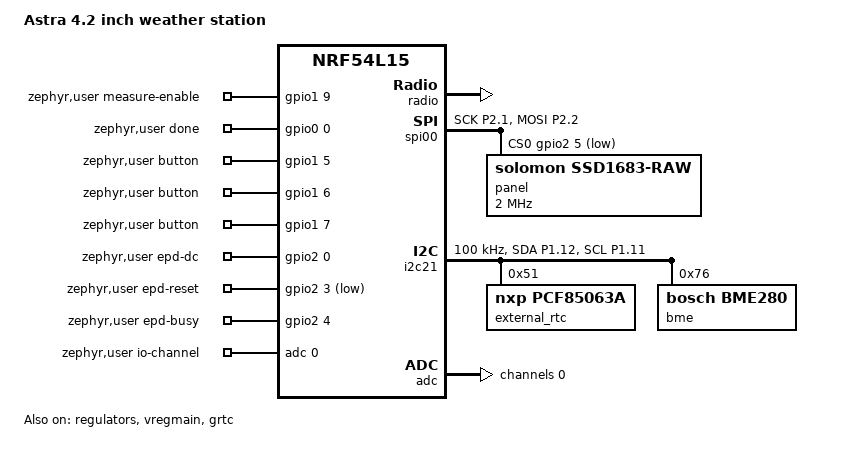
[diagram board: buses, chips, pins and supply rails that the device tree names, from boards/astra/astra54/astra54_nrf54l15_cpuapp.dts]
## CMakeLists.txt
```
cmake_minimum_required(VERSION 3.20.0)
list(APPEND BOARD_ROOT ${CMAKE_CURRENT_SOURCE_DIR})
find_package(Zephyr REQUIRED HINTS $ENV{ZEPHYR_BASE})
project(astra_bringup C)
target_sources(app PRIVATE src/main.c src/state.c src/panel.c src/clock.c src/calendar.c)
target_compile_options(app PRIVATE -Wall -Wextra -Werror -Wno-unused-parameter)
```

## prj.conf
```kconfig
CONFIG_GPIO=y
CONFIG_I2C=y
CONFIG_I2C_NRFX_TRANSFER_TIMEOUT=50
CONFIG_SPI=y
CONFIG_ADC=y
CONFIG_SENSOR=y
CONFIG_BME280_MODE_FORCED=y
CONFIG_BME280_TEMP_OVER_1X=y
CONFIG_BME280_PRESS_OVER_1X=y
CONFIG_BME280_HUMIDITY_OVER_1X=y
CONFIG_FLASH=y
CONFIG_NRF_RRAM_WRITE_BUFFER_SIZE=1
CONFIG_MAIN_STACK_SIZE=4096
CONFIG_HW_STACK_PROTECTION=y
CONFIG_PRINTK=n
CONFIG_CONSOLE=n
CONFIG_SERIAL=n
CONFIG_BOOT_BANNER=n
CONFIG_BUILD_OUTPUT_HEX=y
CONFIG_BT=y
CONFIG_BT_BROADCASTER=y
CONFIG_BT_DEVICE_NAME="Astra weather"
```

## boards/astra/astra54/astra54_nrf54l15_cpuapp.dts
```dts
/dts-v1/;
#include <nordic/nrf54l15_cpuapp.dtsi>
#include <zephyr/dt-bindings/adc/adc.h>
#include <zephyr/dt-bindings/adc/nrf-saadc-nrf54l.h>

/ {
	model = "Astra 4.2 inch weather station";
	compatible = "astra,weather-station";
	chosen {
		zephyr,sram = &cpuapp_sram;
		zephyr,flash-controller = &rram_controller;
		zephyr,flash = &cpuapp_rram;
		zephyr,code-partition = &application;
	};
	zephyr,user {
		io-channels = <&adc 0>;
		measure-enable-gpios = <&gpio1 9 GPIO_ACTIVE_HIGH>;
		done-gpios = <&gpio0 0 GPIO_ACTIVE_HIGH>;
		button-gpios = <&gpio1 5 GPIO_ACTIVE_HIGH>, <&gpio1 6 GPIO_ACTIVE_HIGH>,
			       <&gpio1 7 GPIO_ACTIVE_HIGH>;
		epd-dc-gpios = <&gpio2 0 GPIO_ACTIVE_HIGH>;
		epd-reset-gpios = <&gpio2 3 GPIO_ACTIVE_LOW>;
		epd-busy-gpios = <&gpio2 4 GPIO_ACTIVE_HIGH>;
	};
};

&cpuapp_rram {
	partitions {
		compatible = "fixed-partitions";
		#address-cells = <1>;
		#size-cells = <1>;
		application: partition@0 { label = "application"; reg = <0x0 0x15d000>; };
		panel_state: partition@15d000 { label = "panel-state"; reg = <0x15d000 0x8000>; };
	};
};
&cpuapp_sram { status = "okay"; };
&gpio0 { status = "okay"; };
&gpio1 { status = "okay"; };
&gpio2 { status = "okay"; };
&gpiote20 { status = "okay"; };
&gpiote30 { status = "okay"; };
&clock { status = "okay"; };
&hfxo {
	load-capacitors = "internal";
	load-capacitance-femtofarad = <15000>;
};
&lfxo {
	load-capacitors = "internal";
	load-capacitance-femtofarad = <17000>;
};
&regulators { status = "okay"; };
&vregmain {
	status = "okay";
	regulator-initial-mode = <NRF5X_REG_MODE_DCDC>;
};
&grtc {
	owned-channels = <0 1 2 3 4 5 6 7 8 9 10 11>;
	child-owned-channels = <3 4 7 8 9 10 11>;
	status = "okay";
};
&radio { status = "okay"; };
&pinctrl {
	astra_spi: astra-spi {
		group1 { psels = <NRF_PSEL(SPIM_SCK, 2, 1)>, <NRF_PSEL(SPIM_MOSI, 2, 2)>; };
	};
	astra_i2c: astra-i2c {
		group1 { psels = <NRF_PSEL(TWIM_SDA, 1, 12)>, <NRF_PSEL(TWIM_SCL, 1, 11)>; };
	};
};
&spi00 {
	status = "okay";
	pinctrl-0 = <&astra_spi>;
	pinctrl-names = "default";
	cs-gpios = <&gpio2 5 GPIO_ACTIVE_LOW>;
	panel: epd@0 {
		compatible = "solomon,ssd1683-raw";
		reg = <0>;
		spi-max-frequency = <2000000>;
		spi-cs-setup-delay-ns = <1000>;
		spi-cs-hold-delay-ns = <1000>;
	};
};
&i2c21 {
	status = "okay";
	clock-frequency = <100000>;
	pinctrl-0 = <&astra_i2c>;
	pinctrl-names = "default";
	external_rtc: rtc@51 { compatible = "nxp,pcf85063a"; reg = <0x51>; };
	bme: bme280@76 { compatible = "bosch,bme280"; reg = <0x76>; };
};
&adc {
	status = "okay";
	#address-cells = <1>;
	#size-cells = <0>;
	channel@0 {
		reg = <0>;
		zephyr,gain = "ADC_GAIN_1_3";
		zephyr,reference = "ADC_REF_INTERNAL";
		zephyr,acquisition-time = <ADC_ACQ_TIME(ADC_ACQ_TIME_MICROSECONDS, 40)>;
		zephyr,input-positive = <NRF_SAADC_AIN0>;
		zephyr,resolution = <12>;
	};
};
```

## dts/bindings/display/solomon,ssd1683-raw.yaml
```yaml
description: Waveshare monochrome 400 x 300 panel using SSD1683 in four-wire SPI mode
compatible: "solomon,ssd1683-raw"
include: spi-device.yaml
```

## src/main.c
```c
#include "clock.h"
#include "panel.h"
#include "state.h"

#include <errno.h>
#include <nrf.h>
#include <hal/nrf_rramc.h>
#include <string.h>
#include <zephyr/bluetooth/bluetooth.h>
#include <zephyr/drivers/adc.h>
#include <zephyr/drivers/flash.h>
#include <zephyr/drivers/gpio.h>
#include <zephyr/drivers/i2c.h>
#include <zephyr/drivers/sensor.h>
#include <zephyr/drivers/spi.h>
#include <zephyr/init.h>
#include <zephyr/kernel.h>
#include <zephyr/storage/flash_map.h>

#define USER DT_PATH(zephyr_user)
static const struct gpio_dt_spec done = GPIO_DT_SPEC_GET(USER, done_gpios);
static const struct gpio_dt_spec measure_en = GPIO_DT_SPEC_GET(USER, measure_enable_gpios);
static const struct gpio_dt_spec keys[] = {
	GPIO_DT_SPEC_GET_BY_IDX(USER, button_gpios, 0), GPIO_DT_SPEC_GET_BY_IDX(USER, button_gpios, 1),
	GPIO_DT_SPEC_GET_BY_IDX(USER, button_gpios, 2)
};
static const struct gpio_dt_spec dc = GPIO_DT_SPEC_GET(USER, epd_dc_gpios);
static const struct gpio_dt_spec reset = GPIO_DT_SPEC_GET(USER, epd_reset_gpios);
static const struct gpio_dt_spec busy = GPIO_DT_SPEC_GET(USER, epd_busy_gpios);
static const struct spi_dt_spec epd_spi = SPI_DT_SPEC_GET(DT_NODELABEL(panel),
	SPI_OP_MODE_MASTER | SPI_TRANSFER_MSB | SPI_WORD_SET(8));
static const struct adc_dt_spec battery = ADC_DT_SPEC_GET(USER);
static const struct device *const bme = DEVICE_DT_GET(DT_NODELABEL(bme));
static const struct i2c_dt_spec bme_i2c = I2C_DT_SPEC_GET(DT_NODELABEL(bme));
static const struct device *const rram = FIXED_PARTITION_DEVICE(panel_state);
static uint8_t framebuffer[ASTRA_FRAME_BYTES] __aligned(4);
static uint8_t boot_keys;
static int early_status;

/* Inspect this named RAM object through SWD before or during astra_done_hook(). */
struct bringup_report {
	uint32_t version, part, variant, package;
	int32_t gpio, rtc, sensor, adc, journal, panel, sleep, radio;
	uint32_t sequence, timestamp;
	uint16_t battery_mv;
	int16_t temperature;
	uint8_t keys, rtc_alarm, mode, reserved;
	uint32_t done_pulses;
};
volatile struct bringup_report astra_report;

static int sample_keys(uint8_t *mask)
{
	for (size_t i = 0; i < ARRAY_SIZE(keys); i++) {
		int value = gpio_pin_get_dt(&keys[i]);
		if (value < 0) { return value; }
		if (value) { *mask |= (uint8_t)BIT(i); }
	}
	return 0;
}

static int capture_keys(void)
{
	early_status = gpio_pin_configure_dt(&done, GPIO_OUTPUT_INACTIVE);
	if (!early_status) { early_status = gpio_pin_configure_dt(&measure_en, GPIO_OUTPUT_INACTIVE); }
	for (size_t i = 0; !early_status && i < ARRAY_SIZE(keys); ++i) {
		early_status = gpio_pin_configure_dt(&keys[i], GPIO_INPUT);
	}
	if (!early_status) { early_status = sample_keys(&boot_keys); }
	return 0;
}
/* Capture after PRE_KERNEL_1 GPIO priority 40 and before POST_KERNEL sensor probe. */
SYS_INIT(capture_keys, PRE_KERNEL_1, 41);

static int sample_divider(uint16_t *millivolts)
{
	if (!adc_is_ready_dt(&battery)) { return -ENODEV; }
	int err = adc_channel_setup_dt(&battery);
	int16_t raw;
	struct adc_sequence sample = {.buffer = &raw, .buffer_size = sizeof(raw), .calibrate = true};
	if (!err) { err = adc_sequence_init_dt(&battery, &sample); }
	if (!err) { err = adc_read_dt(&battery, &sample); }
	if (err) { return err; }
	int32_t scaled = raw;
	err = adc_raw_to_millivolts_dt(&battery, &scaled);
	if (err) { return err; }
	if (scaled < 0 || scaled > 3000) { return -ERANGE; }
	*millivolts = (uint16_t)(scaled * 2);
	return 0;
}

static int measure_battery(uint16_t *millivolts)
{
	int err = gpio_pin_set_dt(&measure_en, 1);
	if (!err) {
		k_msleep(5);
		err = sample_divider(millivolts);
	}
	int clear_err = gpio_pin_set_dt(&measure_en, 0);
	k_msleep(1);
	return err ? err : clear_err;
}

static int weather(struct scene *scene)
{
	if (!device_is_ready(bme)) { return -ENODEV; }
	uint8_t id = 0;
	int err = i2c_reg_read_byte_dt(&bme_i2c, 0xd0, &id);
	if (err) { return err; }
	if (id != 0x60) { return -ENODEV; } /* BMP280 is pressure-only. */
	err = sensor_sample_fetch(bme);
	struct sensor_value t, p, h;
	if (!err) { err = sensor_channel_get(bme, SENSOR_CHAN_AMBIENT_TEMP, &t); }
	if (!err) { err = sensor_channel_get(bme, SENSOR_CHAN_PRESS, &p); }
	if (!err) { err = sensor_channel_get(bme, SENSOR_CHAN_HUMIDITY, &h); }
	if (err) { return err; }
	int32_t temp_c100 = sensor_value_to_milli(&t) / 10;
	int32_t rh100 = sensor_value_to_milli(&h) / 10;
	int32_t pascals = sensor_value_to_milli(&p); /* Zephyr SENSOR_CHAN_PRESS uses kPa. */
	if (temp_c100 < -4000 || temp_c100 > 8500 || rh100 < 0 || rh100 > 10000 ||
	    pascals < 30000 || pascals > 110000) { return -ERANGE; }
	scene->temp_centi_c = (int16_t)temp_c100;
	scene->humidity_centi_pct = (uint16_t)rh100;
	scene->pressure_pa = (uint32_t)pascals;
	return 0;
}

static int panel_setup(void)
{
	if (!spi_is_ready_dt(&epd_spi) || !gpio_is_ready_dt(&dc) || !gpio_is_ready_dt(&reset) ||
	    !gpio_is_ready_dt(&busy)) { return -ENODEV; }
	int err = gpio_pin_configure_dt(&dc, GPIO_OUTPUT_INACTIVE);
	if (!err) { err = gpio_pin_configure_dt(&reset, GPIO_OUTPUT_INACTIVE); }
	if (!err) { err = gpio_pin_configure_dt(&busy, GPIO_INPUT); }
	return err;
}

static int panel_send(void *ctx, bool data, const uint8_t *buf, size_t n)
{
	ARG_UNUSED(ctx);
	struct spi_buf part = {.buf = (void *)buf, .len = n};
	struct spi_buf_set set = {.buffers = &part, .count = 1};
	int err = gpio_pin_set_dt(&dc, data);
	if (!err) {
		err = spi_write_dt(&epd_spi, &set);
		/* CS is high upon synchronous completion. Meet SSD1683 tCSHIGH. */
		k_busy_wait(1);
	}
	return err;
}

static int panel_reset_pin(void *ctx, bool asserted)
{
	ARG_UNUSED(ctx);
	return gpio_pin_set_dt(&reset, asserted);
}
static int panel_busy_pin(void *ctx) { ARG_UNUSED(ctx); return gpio_pin_get_dt(&busy); }
static void panel_delay(void *ctx, unsigned ms) { ARG_UNUSED(ctx); k_msleep(ms); }
static uint32_t panel_time(void *ctx) { ARG_UNUSED(ctx); return k_uptime_get_32(); }

static const struct panel_io screen = {
	.send = panel_send, .reset = panel_reset_pin, .busy = panel_busy_pin,
	.delay_ms = panel_delay, .time_ms = panel_time
};

static int read_slot(void *ctx, size_t address, void *data, size_t length)
{
	ARG_UNUSED(ctx);
	return flash_read(rram, FIXED_PARTITION_OFFSET(panel_state) + address, data, length);
}
static int write_slot(void *ctx, size_t address, const void *data, size_t length)
{
	ARG_UNUSED(ctx);
	int err = flash_write(rram, FIXED_PARTITION_OFFSET(panel_state) + address, data, length);
	if (err) { return err; }
	/* Subsequent flash_read alone cannot distinguish data in an in-flight buffer. */
	uint32_t start = k_uptime_get_32();
	while (!nrf_rramc_empty_buffer_check(NRF_RRAMC) || !nrf_rramc_ready_check(NRF_RRAMC)) {
		if (k_uptime_get_32() - start >= 20) { return -ETIMEDOUT; }
		k_busy_wait(5);
	}
	return 0;
}
static const struct journal journal = {
	.slots = FIXED_PARTITION_SIZE(panel_state)/sizeof(struct slot), .read = read_slot, .write = write_slot
};
BUILD_ASSERT(FIXED_PARTITION_SIZE(panel_state) % sizeof(struct slot) == 0);

static void update_panel(const struct scene *now)
{
	struct history prior, pending;
	if (!device_is_ready(rram)) { astra_report.journal = -ENODEV; return; }
	astra_report.journal = journal_find(&journal, &prior);
	if (astra_report.journal) { return; }
	enum refresh mode = choose_refresh(now, &prior);
	astra_report.mode = (uint8_t)mode;
	if (mode == REFRESH_SKIP) { return; }
	if (mode != REFRESH_DEFER) {
		astra_report.panel = panel_setup();
		if (astra_report.panel) { return; }
	}
	astra_report.journal = journal_prepare(&journal, &prior, now, mode, &pending);
	if (astra_report.journal) { return; }
	astra_report.sequence = pending.intent.generation;
	if (mode == REFRESH_DEFER) { return; }
	astra_report.panel = panel_refresh(&screen, mode, &prior.intent.scene, now, framebuffer);
	if (astra_report.panel) { return; }
	astra_report.journal = journal_commit(&journal, &pending);
	if (!astra_report.journal && prior.damaged && mode == REFRESH_FULL) {
		astra_report.journal = journal_clean_damaged(&journal);
	}
	astra_report.sleep = panel_sleep(&screen);
}

static K_SEM_DEFINE(radio_ready, 0, 1);
static int radio_status;
static void ready(int err) { radio_status = err; k_sem_give(&radio_ready); }
static int advertise_test(void)
{
	int err = bt_enable(ready);
	if (!err) { err = k_sem_take(&radio_ready, K_SECONDS(3)); }
	if (!err) { err = radio_status; }
	if (err) { return err; }
	const struct bt_data payload[] = {
		BT_DATA_BYTES(BT_DATA_FLAGS, BT_LE_AD_NO_BREDR),
		BT_DATA(BT_DATA_NAME_COMPLETE, CONFIG_BT_DEVICE_NAME, sizeof(CONFIG_BT_DEVICE_NAME) - 1),
	};
	err = bt_le_adv_start(BT_LE_ADV_NCONN, payload, ARRAY_SIZE(payload), NULL, 0);
	if (err) { return err; }
	k_msleep(2000);
	return bt_le_adv_stop();
}

__attribute__((noinline,used)) void astra_done_hook(void)
{
	__asm__ volatile ("" ::: "memory");
}

int main(void)
{
	astra_report = (struct bringup_report){ .version = 1, .part = NRF_FICR->INFO.PART,
		.variant = NRF_FICR->INFO.VARIANT, .package = NRF_FICR->INFO.PACKAGE, .gpio = early_status,
		.journal = -ENODATA, .panel = -ENODATA, .sleep = -ENODATA, .radio = -ENODATA };
	struct scene sample = { .buttons = boot_keys };
	k_msleep(5);
	if (!early_status) { astra_report.gpio = sample_keys(&sample.buttons); }
	astra_report.keys = sample.buttons;
	struct clock_reading reading = {0};
	astra_fixture_hook();
	for (unsigned attempt = 0; attempt < 3; ++attempt) {
		astra_report.rtc = clock_read_arm(&reading);
		if (!astra_report.rtc) { break; }
		k_msleep(25);
	}
	if ((reading.reset || astra_report.rtc) && sample.buttons) {
		/* The three wake RCs can all indicate a key on first AON rise. */
		uint32_t start = k_uptime_get_32();
		do {
			uint8_t levels = 0;
			if (sample_keys(&levels) || !levels) { break; }
			k_msleep(20);
		} while (k_uptime_get_32() - start < 2000);
		sample.buttons = 0;
		astra_report.keys = 0;
	}
	astra_report.rtc_alarm = reading.was_alarm;
	astra_report.timestamp = sample.seconds = reading.seconds;
	sample.flags = (reading.utc ? ASTRA_UTC : 0) | (reading.reset ? ASTRA_CLOCK_RESET : 0);
	astra_report.adc = measure_battery(&sample.battery_mv);
	astra_report.battery_mv = sample.battery_mv;
	astra_report.sensor = weather(&sample);
	astra_report.temperature = sample.temp_centi_c;
	if (!astra_report.gpio && !astra_report.rtc && !astra_report.adc && !astra_report.sensor) {
		update_panel(&sample);
	}
	if ((sample.buttons & BIT(2)) && !astra_report.adc && sample.battery_mv >= 3300 &&
	    sample.battery_mv <= 4350) {
		astra_report.radio = advertise_test();
	}
	astra_done_hook();
	/* Re-arm after a debugger stop or slow display. While a fixture holds manual
	 * wake high, keep an upcoming alarm scheduled and send a fresh DONE after release. */
	uint32_t armed_at = 0;
	for (;;) {
		uint32_t now = k_uptime_get_32();
		if (!astra_report.done_pulses || now - armed_at >= 14u * 60u * 1000u) {
			struct clock_reading again = {0};
			int arm_err = clock_read_arm(&again);
			if (arm_err) { astra_report.rtc = arm_err; }
			armed_at = now;
		}
		++astra_report.done_pulses;
		(void)gpio_pin_set_dt(&done, 1);
		k_msleep(10);
		(void)gpio_pin_set_dt(&done, 0);
		k_msleep(astra_report.done_pulses < 10 ? 90 : 990);
	}
}
```

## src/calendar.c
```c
#include "calendar.h"

static unsigned days_in_month(unsigned y, unsigned m)
{
	const uint8_t days[] = {31,28,31,30,31,30,31,31,30,31,30,31};
	return days[m - 1] + (m == 2 && y % 4 == 0);
}

bool calendar_seconds(const struct calendar *t, uint32_t *seconds)
{
	if (t->year < 2000 || t->year > 2099 || t->month == 0 || t->month > 12 || t->day == 0 ||
	    t->day > days_in_month(t->year, t->month) || t->hour > 23 || t->minute > 59 ||
	    t->second > 59) {
		return false;
	}
	uint32_t years = t->year - 2000;
	uint32_t days = 365 * years + (years + 3) / 4;
	for (unsigned m = 1; m < t->month; ++m) {
		days += days_in_month(t->year, m);
	}
	days += t->day - 1;
	*seconds = ((days * 24 + t->hour) * 60 + t->minute) * 60 + t->second;
	return true;
}

static uint8_t bcd(unsigned value) { return (uint8_t)((value / 10u) * 16u + value % 10u); }

static uint8_t from_bcd(uint8_t value)
{
	return (value & 15) > 9 || (value >> 4) > 9 ? 255 : (uint8_t)((value >> 4) * 10 + (value & 15));
}

bool calendar_decode(const uint8_t r[7], struct calendar *out)
{
	*out = (struct calendar){ .year = 2000 + from_bcd(r[6]), .month = from_bcd(r[5] & 31),
		.day = from_bcd(r[3] & 63), .hour = from_bcd(r[2] & 63),
		.minute = from_bcd(r[1] & 127), .second = from_bcd(r[0] & 127) };
	uint32_t seconds;
	return !(r[0] & 0x80) && calendar_seconds(out, &seconds);
}

void calendar_encode(const struct calendar *t, uint8_t out[7])
{
	uint32_t seconds = 0;
	(void)calendar_seconds(t, &seconds);
	out[0] = bcd(t->second);
	out[1] = bcd(t->minute);
	out[2] = bcd(t->hour);
	out[3] = bcd(t->day);
	out[4] = (uint8_t)((6 + seconds / 86400) % 7); /* 2000-01-01 was Saturday. */
	out[5] = bcd(t->month);
	out[6] = bcd(t->year % 100);
}

void next_alarm(const struct calendar *now, uint8_t regs[5])
{
	unsigned seconds = (unsigned)now->hour * 3600 + (unsigned)now->minute * 60 + now->second;
	unsigned wait = 900u - seconds % 900u;
	/* Coalesce a manual/fixture wake within two seconds of the queued boundary.
	 * Re-arming after display work stays on the same grid, without cumulative drift. */
	if (wait <= 2) { wait += 900; }
	unsigned at = ((seconds + wait) % 86400u) / 60u;
	regs[0] = 0;
	regs[1] = bcd(at % 60);
	regs[2] = bcd(at / 60);
	regs[3] = regs[4] = 0x80; /* Compare h:m:s daily, re-arm every wake. */
}
```

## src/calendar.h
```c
#ifndef ASTRA_CALENDAR_H
#define ASTRA_CALENDAR_H
#include <stdbool.h>
#include <stdint.h>

struct calendar {
	uint16_t year;
	uint8_t month, day, hour, minute, second;
};
bool calendar_seconds(const struct calendar *t, uint32_t *seconds);
bool calendar_decode(const uint8_t regs[7], struct calendar *out);
void calendar_encode(const struct calendar *t, uint8_t regs[7]);
void next_alarm(const struct calendar *now, uint8_t regs[5]);
#endif
```

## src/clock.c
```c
#include "clock.h"
#include <errno.h>
#include <string.h>
#include <zephyr/drivers/i2c.h>
#include <zephyr/kernel.h>

static const struct i2c_dt_spec rtc = I2C_DT_SPEC_GET(DT_NODELABEL(external_rtc));
volatile struct time_mailbox astra_time_mailbox;

__attribute__((noinline,used)) void astra_fixture_hook(void)
{
	__asm__ volatile ("" ::: "memory");
}

static int registers(uint8_t addr, uint8_t *data, size_t n)
{
	return i2c_write_read_dt(&rtc, &addr, 1, data, n);
}

static int set_time(const struct calendar *t, bool utc)
{
	uint8_t burst[8] = {0x04};
	uint32_t ignored;
	if (!calendar_seconds(t, &ignored)) {
		return -EINVAL;
	}
	/* Invalidate UTC trust before changing calendar, including interruption mid-write. */
	int err = i2c_reg_write_byte_dt(&rtc, 0x03, 0);
	if (err) {
		return err;
	}
	calendar_encode(t, &burst[1]);
	err = i2c_write_dt(&rtc, burst, sizeof(burst));
	if (!err && utc) {
		uint8_t raw[7];
		uint32_t wrote, read;
		struct calendar check;
		err = registers(0x04, raw, sizeof(raw));
		if (!err && (!calendar_decode(raw, &check) || !calendar_seconds(&check, &read) ||
			     !calendar_seconds(t, &wrote) || (read != wrote && read != wrote + 1))) {
			err = -EIO;
		}
		if (!err) {
			err = i2c_reg_write_byte_dt(&rtc, 0x03, 0xe7);
		}
	}
	return err;
}

static int start_relative_clock(void)
{
	/* NXP power-up procedure: software reset only after loss of clock integrity. */
	int err = i2c_reg_write_byte_dt(&rtc, 0x00, 0x58);
	if (err) {
		return err;
	}
	k_msleep(5);
	err = i2c_reg_write_byte_dt(&rtc, 0x00, 0); /* 7 pF, 24 h, running */
	if (!err) { err = i2c_reg_write_byte_dt(&rtc, 0x01, 0x07); }
	struct calendar epoch = {.year = 2000, .month = 1, .day = 1};
	/* OS is sticky and may reassert until the crystal oscillates. */
	for (int n = 0; !err && n < 40; ++n) {
		err = set_time(&epoch, false);
		if (err) {
			break;
		}
		k_msleep(50);
		uint8_t seconds;
		err = i2c_reg_read_byte_dt(&rtc, 0x04, &seconds);
		if (!err && !(seconds & 0x80)) {
			return 0;
		}
	}
	return err ? err : -ETIMEDOUT;
}

int clock_read_arm(struct clock_reading *reading)
{
	if (!i2c_is_ready_dt(&rtc)) { return -ENODEV; }
	uint8_t ctrl2, raw[7], ram;
	int err = i2c_reg_read_byte_dt(&rtc, 0x01, &ctrl2);
	if (err) {
		(void)i2c_recover_bus(rtc.bus);
		err = i2c_reg_read_byte_dt(&rtc, 0x01, &ctrl2);
	}
	if (err) { return err; }
	reading->was_alarm |= !!(ctrl2 & 0x40);
	err = i2c_reg_write_byte_dt(&rtc, 0x01, 0x07); /* AF clear, AIE off, CLKOUT off. */
	if (!err) { err = i2c_reg_write_byte_dt(&rtc, 0x00, 0); }
	if (!err) { err = registers(0x04, raw, sizeof(raw)); }
	if (err) { return err; }

	struct calendar now;
	bool lost_time = !calendar_decode(raw, &now);
	/* Preserve a cleared AF or a recovered clock across an I2C re-arm retry. */
	reading->reset |= lost_time;
	if (lost_time) {
		err = start_relative_clock();
		if (err) { return err; }
	}

	if (astra_time_mailbox.cookie == 0x41535455u) {
		struct calendar requested = astra_time_mailbox.value;
		astra_time_mailbox.cookie = 0;
		err = set_time(&requested, true);
		reading->reset = true;
		if (err) { return err; }
	}

	err = registers(0x04, raw, sizeof(raw));
	if (!err) { err = i2c_reg_read_byte_dt(&rtc, 0x03, &ram); }
	if (err) { return err; }
	if (!calendar_decode(raw, &now) || !calendar_seconds(&now, &reading->seconds)) {
		return -ENODATA;
	}
	reading->utc = ram == 0xe7;
	uint8_t burst[6] = {0x0b};
	uint8_t check[5];
	next_alarm(&now, &burst[1]);
	err = i2c_write_dt(&rtc, burst, sizeof(burst));
	if (!err) { err = registers(0x0b, check, sizeof(check)); }
	if (!err && memcmp(check, &burst[1], sizeof(check))) { err = -EIO; }
	if (!err) { err = i2c_reg_write_byte_dt(&rtc, 0x01, 0x87); }
	if (!err) { err = i2c_reg_read_byte_dt(&rtc, 0x01, &ctrl2); }
	if (!err && (ctrl2 & 0xc7) != 0x87) { err = -EIO; }
	return err;
}
```

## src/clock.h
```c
#ifndef ASTRA_CLOCK_H
#define ASTRA_CLOCK_H
#include "calendar.h"
#include <stdint.h>

struct clock_reading {
	uint32_t seconds;
	bool utc;
	bool reset;
	bool was_alarm;
};

/* Factory debugger sets time fields then cookie at astra_fixture_hook. */
struct time_mailbox {
	uint32_t cookie;
	struct calendar value;
};
extern volatile struct time_mailbox astra_time_mailbox;
void astra_fixture_hook(void);
int clock_read_arm(struct clock_reading *reading);
#endif
```

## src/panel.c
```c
#include "panel.h"
#include <errno.h>

static int command(const struct panel_io *io, uint8_t opcode, const uint8_t *data, size_t length)
{
	int err = io->send(io->context, false, &opcode, 1);
	if (!err && length) {
		err = io->send(io->context, true, data, length);
	}
	return err;
}

static int byte_command(const struct panel_io *io, uint8_t opcode, uint8_t value)
{
	return command(io, opcode, &value, 1);
}

static int wait_level(const struct panel_io *io, int expected, unsigned timeout, unsigned poll)
{
	uint32_t start = io->time_ms(io->context);
	do {
		int level = io->busy(io->context);
		if (level < 0) {
			return level;
		}
		if (level == expected) {
			return 0;
		}
		io->delay_ms(io->context, poll);
	} while ((uint32_t)(io->time_ms(io->context) - start) < timeout);
	return -ETIMEDOUT;
}

static int origin(const struct panel_io *io)
{
	uint8_t y[] = {0, 0};
	int err = byte_command(io, 0x4e, 0);
	return err ? err : command(io, 0x4f, y, sizeof(y));
}

static int initialize(const struct panel_io *io, enum refresh mode)
{
	/* Recreate registers after VMAIN loss. Power-up, HW reset, SW reset. */
	io->delay_ms(io->context, 100);
	int err = io->reset(io->context, true);
	if (!err) {
		io->delay_ms(io->context, 2);
		err = io->reset(io->context, false);
	}
	if (!err) {
		io->delay_ms(io->context, 100);
		err = wait_level(io, 0, 2000, 2);
	}
	if (!err) {
		err = command(io, 0x12, NULL, 0);
	}
	if (!err) {
		io->delay_ms(io->context, 10);
		err = wait_level(io, 0, 2000, 2);
	}
	uint8_t gate[] = {0x2b, 0x01, 0x00};
	uint8_t wave[] = {mode == REFRESH_PARTIAL ? 0x00 : 0x40, 0x00};
	uint8_t x_range[] = {0x00, 0x31};
	uint8_t y_range[] = {0x00, 0x00, 0x2b, 0x01};
	if (!err) { err = command(io, 0x01, gate, sizeof(gate)); }
	if (!err) { err = byte_command(io, 0x18, 0x80); }  /* Internal temperature sensor. */
	if (!err) { err = command(io, 0x21, wave, sizeof(wave)); }
	if (!err) { err = byte_command(io, 0x3c, mode == REFRESH_PARTIAL ? 0x80 : 0x05); }
	if (!err) { err = byte_command(io, 0x11, 0x03); }
	if (!err) { err = command(io, 0x44, x_range, sizeof(x_range)); }
	if (!err) { err = command(io, 0x45, y_range, sizeof(y_range)); }
	return err;
}

int panel_refresh(const struct panel_io *io, enum refresh mode, const struct scene *old,
		  const struct scene *next, uint8_t scratch[ASTRA_FRAME_BYTES])
{
	if ((mode != REFRESH_FULL && mode != REFRESH_PARTIAL) || (mode == REFRESH_PARTIAL && !old)) {
		return -EINVAL;
	}
	int err = initialize(io, mode);
	if (!err) {
		err = origin(io);
	}
	if (!err) {
		render_frame(mode == REFRESH_PARTIAL ? old : next, scratch);
		err = command(io, 0x26, scratch, ASTRA_FRAME_BYTES);
	}
	if (!err) {
		err = origin(io);
	}
	if (!err) {
		if (mode == REFRESH_PARTIAL) {
			render_frame(next, scratch);
		}
		err = command(io, 0x24, scratch, ASTRA_FRAME_BYTES);
	}
	if (!err) {
		err = byte_command(io, 0x22, mode == REFRESH_PARTIAL ? 0xff : 0xf7);
	}
	if (!err) {
		err = command(io, 0x20, NULL, 0);
	}
	if (!err) {
		/* A disconnected BUSY pulled low must never authorize journal commit. */
		err = wait_level(io, 1, 250, 1);
	}
	if (!err) {
		err = wait_level(io, 0, 25000, 5);
	}
	return err;
}

int panel_sleep(const struct panel_io *io)
{
	int err = byte_command(io, 0x10, 0x01);
	if (!err) {
		io->delay_ms(io->context, 100);
	}
	return err;
}
```

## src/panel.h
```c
#ifndef ASTRA_PANEL_H
#define ASTRA_PANEL_H
#include "state.h"

struct panel_io {
	void *context;
	int (*send)(void *ctx, bool data, const uint8_t *buf, size_t len);
	int (*reset)(void *ctx, bool asserted);
	int (*busy)(void *ctx);
	void (*delay_ms)(void *ctx, unsigned ms);
	uint32_t (*time_ms)(void *ctx);
};

int panel_refresh(const struct panel_io *io, enum refresh mode, const struct scene *old,
		  const struct scene *next, uint8_t scratch[ASTRA_FRAME_BYTES]);
int panel_sleep(const struct panel_io *io);
#endif
```

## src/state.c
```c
#include "state.h"

#include <errno.h>
#include <stdio.h>
#include <string.h>

_Static_assert(sizeof(struct scene) == 16, "persistent scene changed");
_Static_assert(sizeof(struct intent) == 48 && offsetof(struct intent, crc) == 44,
	       "intent must fit three RRAM lines");
_Static_assert(sizeof(struct slot) == 64, "each record occupies four 16-byte RRAM lines");

#define INTENT_MAGIC 0x41535449u
#define SEAL_MAGIC 0x41535443u

static uint32_t crc32(const void *data, size_t len)
{
	const uint8_t *bytes = data;
	uint32_t crc = UINT32_MAX;
	for (size_t i = 0; i < len; ++i) {
		crc ^= bytes[i];
		for (int bit = 0; bit < 8; ++bit) {
			crc = (crc >> 1) ^ ((0u - (crc & 1u)) & 0xedb88320u);
		}
	}
	return ~crc;
}

static bool valid_intent(const struct intent *i)
{
	return i->magic == INTENT_MAGIC && crc32(i, offsetof(struct intent, crc)) == i->crc;
}

static bool erased(const struct slot *slot)
{
	const uint8_t *p = (const uint8_t *)slot;
	for (size_t i = 0; i < sizeof(*slot); ++i) {
		if (p[i] != UINT8_MAX) {
			return false;
		}
	}
	return true;
}

static struct seal make_seal(const struct intent *i)
{
	return (struct seal){ SEAL_MAGIC, i->generation, i->crc, ~i->crc };
}

int journal_find(const struct journal *j, struct history *out)
{
	if (!j || !out || j->slots < 2) {
		return -EINVAL;
	}
	*out = (struct history){0};
	for (size_t n = 0; n < j->slots; ++n) {
		struct slot s;
		int err = j->read(j->context, n * sizeof(s), &s, sizeof(s));
		if (err) {
			return err;
		}
		if (!valid_intent(&s.intent)) {
			out->damaged |= !erased(&s);
			continue;
		}
		/* Live records span fewer than 2^31 consecutive sequence numbers. */
		if (!out->found || (int32_t)(s.intent.generation - out->intent.generation) > 0) {
			struct seal expected = make_seal(&s.intent);
			out->found = true;
			out->index = n;
			out->intent = s.intent;
			out->committed = memcmp(&s.seal, &expected, sizeof(expected)) == 0;
		}
	}
	return 0;
}

static int write_verified(const struct journal *j, size_t address, const void *data, size_t len)
{
	uint8_t buffer[sizeof(struct slot)];
	int err = j->write(j->context, address, data, len);
	if (!err) {
		err = j->read(j->context, address, buffer, len);
	}
	if (err) {
		return err;
	}
	return memcmp(buffer, data, len) ? -EIO : 0;
}

int journal_prepare(const struct journal *j, const struct history *prior,
		    const struct scene *next, enum refresh mode, struct history *pending)
{
	if (mode == REFRESH_SKIP || (mode == REFRESH_PARTIAL && !prior->committed)) {
		return -EINVAL;
	}
	struct intent i = {
		.magic = INTENT_MAGIC, .generation = prior->found ? prior->intent.generation + 1 : 0,
		.renderer = ASTRA_RENDERER,
		.last_full = mode == REFRESH_PARTIAL ? prior->intent.last_full : next->seconds,
		.scene = *next, .partials = mode == REFRESH_PARTIAL ? prior->intent.partials + 1 : 0
	};
	i.crc = crc32(&i, offsetof(struct intent, crc));
	size_t n = prior->found ? (prior->index + 1) % j->slots : 0;
	size_t address = n * sizeof(struct slot);
	struct seal clear;
	memset(&clear, 0xff, sizeof(clear));
	int err = write_verified(j, address + offsetof(struct slot, seal), &clear, sizeof(clear));
	if (!err) {
		err = write_verified(j, address, &i, sizeof(i));
	}
	if (!err) {
		*pending = (struct history){ .found = true, .index = n, .intent = i };
	}
	return err;
}

int journal_commit(const struct journal *j, const struct history *pending)
{
	struct seal s = make_seal(&pending->intent);
	return write_verified(j, pending->index * sizeof(struct slot) + offsetof(struct slot, seal),
			      &s, sizeof(s));
}

int journal_clean_damaged(const struct journal *j)
{
	/* Call only after a fresh full waveform and its new verified commit. */
	struct slot clear;
	memset(&clear, 0xff, sizeof(clear));
	for (size_t n = 0; n < j->slots; ++n) {
		struct slot s;
		size_t addr = n * sizeof(s);
		int err = j->read(j->context, addr, &s, sizeof(s));
		if (!err && !valid_intent(&s.intent) && !erased(&s)) {
			err = write_verified(j, addr, &clear, sizeof(clear));
		}
		if (err) {
			return err;
		}
	}
	return 0;
}

enum refresh choose_refresh(const struct scene *now, const struct history *prior)
{
	if (now->temp_centi_c < 0 || now->temp_centi_c > 5000 ||
	    now->battery_mv < 3300 || now->battery_mv > 4350) {
		return REFRESH_SKIP;
	}
	if (!prior->found) {
		return prior->damaged ? REFRESH_DEFER : REFRESH_FULL;
	}
	const struct intent *p = &prior->intent;
	bool same_timebase = ((p->scene.flags ^ now->flags) & ASTRA_UTC) == 0 &&
			     !(now->flags & ASTRA_CLOCK_RESET) && now->seconds >= p->scene.seconds;
	if (!same_timebase) {
		/* Record a new time anchor without applying any waveform. Rapid key wakes
		 * then see that anchor and cannot bypass the minimum interval. */
		return REFRESH_DEFER;
	}
	if (now->seconds - p->scene.seconds < 180) {
		return REFRESH_SKIP;
	}
	if (prior->damaged || !prior->committed || p->renderer != ASTRA_RENDERER ||
	    p->partials >= 5 || now->seconds < p->last_full ||
	    now->seconds - p->last_full >= 86400 || (now->buttons & 1) ||
	    now->temp_centi_c < 1500 || now->temp_centi_c > 3500) {
		return REFRESH_FULL;
	}
	return REFRESH_PARTIAL;
}

/* Five-bit rows. Only glyphs used by the fixed bring-up layout are defined. */
struct glyph { char c; uint8_t row[7]; };
static const struct glyph glyphs[] = {
	{'0',{14,17,19,21,25,17,14}}, {'1',{4,12,4,4,4,4,14}},
	{'2',{14,17,1,2,4,8,31}}, {'3',{30,1,1,14,1,1,30}},
	{'4',{2,6,10,18,31,2,2}}, {'5',{31,16,16,30,1,1,30}},
	{'6',{6,8,16,30,17,17,14}}, {'7',{31,1,2,4,8,8,8}},
	{'8',{14,17,17,14,17,17,14}}, {'9',{14,17,17,15,1,2,12}},
	{'A',{14,17,17,31,17,17,17}}, {'B',{30,17,17,30,17,17,30}},
	{'C',{14,17,16,16,16,17,14}}, {'D',{28,18,17,17,17,18,28}},
	{'E',{31,16,16,30,16,16,31}}, {'H',{17,17,17,31,17,17,17}},
	{'I',{14,4,4,4,4,4,14}}, {'K',{17,18,20,24,20,18,17}},
	{'L',{16,16,16,16,16,16,31}}, {'M',{17,27,21,21,17,17,17}},
	{'N',{17,25,25,21,19,19,17}}, {'O',{14,17,17,17,17,17,14}},
	{'P',{30,17,17,30,16,16,16}}, {'R',{30,17,17,30,20,18,17}},
	{'S',{15,16,16,14,1,1,30}}, {'T',{31,4,4,4,4,4,4}},
	{'U',{17,17,17,17,17,17,14}}, {'V',{17,17,17,17,17,10,4}},
	{'Y',{17,17,10,4,4,4,4}},     {'-',{0,0,0,31,0,0,0}},
	{'.',{0,0,0,0,0,12,12}},      {':',{0,12,12,0,12,12,0}},
	{'%',{17,2,4,8,16,17,0}},      {'m',{0,0,26,21,21,17,17}},
	{'h',{16,16,22,25,17,17,17}}, {'a',{0,0,14,1,15,17,15}},
	{'\x7f',{6,9,9,6,0,0,0}} /* degree sign in the one-byte bitmap font */
};

static void label(uint8_t *frame, int x, int y, unsigned scale, const char *text)
{
	for (; *text && x + (int)(5 * scale) <= ASTRA_WIDTH; ++text, x += 6 * (int)scale) {
		for (size_t n = 0; n < sizeof(glyphs)/sizeof(glyphs[0]); ++n) {
			if (glyphs[n].c != *text) {
				continue;
			}
			for (unsigned row = 0; row < 7 * scale; ++row) {
				for (unsigned col = 0; col < 5 * scale; ++col) {
					if (glyphs[n].row[row / scale] & (16u >> (col / scale))) {
						unsigned px = (unsigned)x + col;
						size_t a = (y + row) * (ASTRA_WIDTH / 8) + px / 8;
						frame[a] &= (uint8_t)~(0x80u >> (px & 7));
					}
				}
			}
			break;
		}
	}
}

void render_frame(const struct scene *s, uint8_t frame[ASTRA_FRAME_BYTES])
{
	char buf[40];
	memset(frame, 0xff, ASTRA_FRAME_BYTES);
	label(frame, 14, 12, 3, "ASTRA METEO");
	int t = s->temp_centi_c;
	int mag = t < 0 ? -t : t;
	snprintf(buf, sizeof(buf), "%s%d.%02d \x7f" "C", t < 0 ? "-" : "", mag/100, mag%100);
	label(frame, 14, 50, 5, buf);
	snprintf(buf, sizeof(buf), "RH %u.%u%%", (unsigned)s->humidity_centi_pct / 100,
		 (unsigned)s->humidity_centi_pct % 100 / 10);
	label(frame, 14, 110, 3, buf);
	snprintf(buf, sizeof(buf), "P %u.%u hPa", (unsigned)s->pressure_pa / 100,
		 (unsigned)s->pressure_pa % 100 / 10);
	label(frame, 14, 145, 3, buf);
	snprintf(buf, sizeof(buf), "BAT %u mV", (unsigned)s->battery_mv);
	label(frame, 14, 180, 3, buf);
	snprintf(buf, sizeof(buf), "%s %02u:%02u", s->flags & ASTRA_UTC ? "UTC" : "REL",
		 (unsigned)(s->seconds / 3600 % 24), (unsigned)(s->seconds / 60 % 60));
	label(frame, 14, 230, 2, buf);
	snprintf(buf, sizeof(buf), "KEYS %u%u%u", !!(s->buttons & 1u), !!(s->buttons & 2u),
		 !!(s->buttons & 4u));
	label(frame, 14, 262, 2, buf);
}
```

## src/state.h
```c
#ifndef ASTRA_STATE_H
#define ASTRA_STATE_H

#include <stdbool.h>
#include <stddef.h>
#include <stdint.h>

#define ASTRA_WIDTH 400
#define ASTRA_HEIGHT 300
#define ASTRA_FRAME_BYTES (ASTRA_WIDTH / 8 * ASTRA_HEIGHT)
#define ASTRA_RENDERER 0x41530102u
#define ASTRA_UTC 1u
#define ASTRA_CLOCK_RESET 2u

struct scene {
	uint32_t seconds;       /* Seconds since 2000-01-01, UTC or relative until provisioned. */
	uint32_t pressure_pa;
	int16_t temp_centi_c;
	uint16_t humidity_centi_pct;
	uint16_t battery_mv;
	uint8_t flags;
	uint8_t buttons;
};

struct intent {
	uint32_t magic;
	uint32_t generation;
	uint32_t renderer;
	uint32_t last_full;
	struct scene scene;
	uint8_t partials;
	uint8_t reserved[11];
	uint32_t crc;
};

struct seal {
	uint32_t magic;
	uint32_t generation;
	uint32_t crc;
	uint32_t inverse_crc;
};

struct slot {
	struct intent intent;
	struct seal seal;
};

struct journal {
	size_t slots;
	void *context;
	int (*read)(void *context, size_t address, void *data, size_t length);
	int (*write)(void *context, size_t address, const void *data, size_t length);
};

struct history {
	struct intent intent;
	size_t index;
	bool found;
	bool committed;
	bool damaged;
};

enum refresh { REFRESH_SKIP, REFRESH_FULL, REFRESH_PARTIAL, REFRESH_DEFER };

int journal_find(const struct journal *journal, struct history *out);
int journal_prepare(const struct journal *journal, const struct history *prior,
		    const struct scene *next, enum refresh mode, struct history *pending);
int journal_commit(const struct journal *journal, const struct history *pending);
int journal_clean_damaged(const struct journal *journal);
enum refresh choose_refresh(const struct scene *now, const struct history *prior);
void render_frame(const struct scene *scene, uint8_t frame[ASTRA_FRAME_BYTES]);

#endif
```
